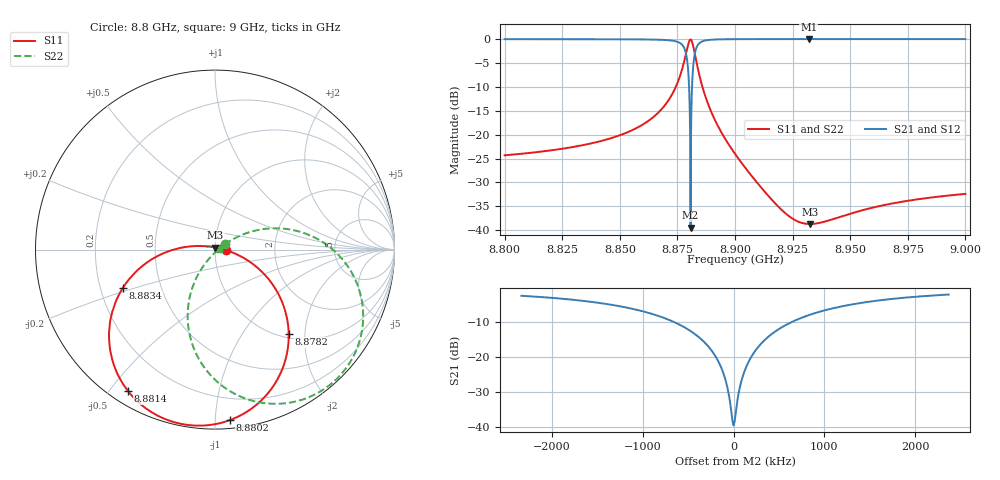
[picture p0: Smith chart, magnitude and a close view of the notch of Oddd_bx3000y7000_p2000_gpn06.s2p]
! Sonnet Data File
! From: emgraph Version : 16.52
! From Project: Resonator2_cp
! Data is De-embedded
! Data File Written: 10/06/2017 09:05:50
!< HDATE 10/05/2017 15:28:06
!< MDATE 10/05/2017 15:28:06
!< PARAMS
!< gap = 6.0
!< Length = 400.0
!< Pwid1 = 2000.0
!< Pwid2 = 2000.0
!< END PARAMS
# GHZ S MA R 35.97000
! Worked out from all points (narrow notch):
!   1595 points, 8.8 GHz to 9 GHz, reference 35.97 ohm
!   highest |S21| = 0.00 dB at 8.932 GHz (marker M1); lowest = -39.5 dB at 8.8807 GHz (marker M2)
!   notch at M2: 39.4 dB deep, 396 kHz wide at half that depth
!   lowest |S11| = -38.7 dB at 8.9326 GHz (marker M3), VSWR 1.02, Z = 36.1 + j0.823 ohm
!   |S11| at or under -10 dB: start of sweep to 8.8743 GHz; 8.8859 GHz to end of sweep
!   |S22| runs from -38.7 to -0.1 dB; largest |S21 - S12| = 0
!   S11 on the Smith chart (normalised r, x): 8.8 GHz: 1.13, -0.01; 8.8782 GHz: 1.08, -1.65; 8.8802 GHz: 0.05, -1.09; 8.8814 GHz: 0.05, -0.56; 8.8834 GHz: 0.30, -0.18; 9 GHz: 1.05, +0.01
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8.8  0.06076 -2.4  0.9981 -76.9  0.9981 -76.9  0.06076 28.5
!< P1 F=8.8 Eeff=(5.36817953 -2.3731e-5) Z0=(35.9853883 8.0522e-5) R=0.0 C=0.0
!< P2 F=8.8 Eeff=(5.36817953 -2.3731e-5) Z0=(35.9853883 8.0522e-5) R=0.0 C=0.0
8.8334  0.07716 -6.0  0.997 -78.2  0.997 -78.2  0.07716 29.6
8.866673  0.1697 -16.5  0.9853 -83.8  0.9853 -83.8  0.1698 28.7
8.874795  0.3366 -28.6  0.9406 -93.8  0.9406 -93.8  0.3367 20.6
8.878234  0.6238 -48.8  0.7766 -112.8  0.7766 -112.8  0.624 2.4
8.879394  0.8222 -66.4  0.5567 -129.5  0.5567 -129.5  0.8224 -14.4
8.88018  0.954 -85.1  0.2656 -146.6  0.2656 -146.6  0.9542 -32.5
8.880498  0.9832 -94.2  0.1118 -152.4  0.1118 -152.4  0.9834 -41.4
8.880714  0.9892 -100.6  0.01063 -75.0  0.01063 -75.0  0.9895 -47.8
8.880859  0.9864 -105.0  0.07606 3.4  0.07606 3.4  0.9866 -52.0
8.881  0.9782 -109.3  0.1483 3.2  0.1483 3.2  0.9785 -56.2
8.881431  0.925 -121.6  0.354 -6.6  0.354 -6.6  0.9252 -68.2
8.88221  0.7717 -139.9  0.6251 -23.7  0.6251 -23.7  0.7719 -85.9
8.8834  0.5554 -157.5  0.8271 -40.5  0.8271 -40.5  0.5556 -102.6
8.888274  0.2103 178.5  0.977 -62.1  0.977 -62.1  0.2104 -122.4
8.9  0.06298 162.2  0.9979 -70.8  0.9979 -70.8  0.06301 -123.7
8.92  0.01653 125.1  0.9998 -73.9  0.9998 -73.9  0.01656 -92.7
8.932  0.01162 80.9  0.9999 -74.6  0.9999 -74.6  0.01165 -50.1
8.9326  0.01161 78.8  0.9999 -74.7  0.9999 -74.7  0.01164 -48.0
8.9334  0.01163 76.0  0.9999 -74.7  0.9999 -74.7  0.01165 -45.3
8.9668  0.01875 26.1  0.9998 -75.8  0.9998 -75.8  0.01876 2.3
9  0.02399 16.1  0.9997 -76.4  0.9997 -76.4  0.02399 11.0
